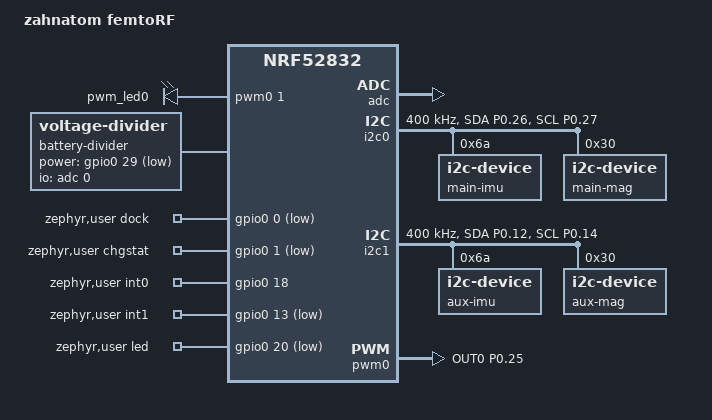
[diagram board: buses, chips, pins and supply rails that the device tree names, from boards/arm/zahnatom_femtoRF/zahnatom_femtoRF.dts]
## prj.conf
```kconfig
CONFIG_NCS_SAMPLES_DEFAULTS=y

CONFIG_ESB=y

CONFIG_SENSOR=y
CONFIG_ADC=y
CONFIG_ADC_NRFX_SAADC=y
CONFIG_FPU=y
CONFIG_I2C=y
CONFIG_PINCTRL=y

CONFIG_NVS=y

CONFIG_POWEROFF=y

CONFIG_FLASH=y
CONFIG_FLASH_PAGE_LAYOUT=y
CONFIG_FLASH_MAP=y

CONFIG_SETTINGS=y
CONFIG_SETTINGS_NVS=y
CONFIG_SETTINGS_RUNTIME=y

CONFIG_MPU_ALLOW_FLASH_WRITE=y

CONFIG_CONSOLE=y
CONFIG_USE_SEGGER_RTT=y
CONFIG_RTT_CONSOLE=y
CONFIG_LOG=y
CONFIG_LOG_MODE_DEFERRED=y
#CONFIG_LOG_MODE_IMMEDIATE=y
CONFIG_LOG_BACKEND_RTT=y
CONFIG_CBPRINTF_FP_SUPPORT=y
CONFIG_ADC_LOG_LEVEL_OFF=y

CONFIG_PWM=y
CONFIG_GPIO=y

#CONFIG_CPLUSPLUS=y
#CONFIG_CPP_MAIN=y

CONFIG_CRC=y

CONFIG_NVS_LOOKUP_CACHE=y

# CONFIG_NEWLIB_LIBC=y
CONFIG_NRFX_TIMER1=y

#speed up boot? (use internal rc oscillator)
#CONFIG_CLOCK_CONTROL_NRF_K32SRC_RC=y
#speed up boot? (synthesize lf clock)
CONFIG_CLOCK_CONTROL_NRF_K32SRC_SYNTH=y
```

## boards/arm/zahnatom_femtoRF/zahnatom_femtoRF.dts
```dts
// Copyright (c) 2023 Nordic Semiconductor ASA
// SPDX-License-Identifier: Apache-2.0

/dts-v1/;
#include <nordic/nrf52832_ciaa.dtsi>

//move to dtsi?
&pinctrl {
	i2c0_default: i2c0_default {
		group1 {
			psels = <NRF_PSEL(TWIM_SDA, 0, 26)>,
				<NRF_PSEL(TWIM_SCL, 0, 27)>;
		};
	};

	i2c0_sleep: i2c0_sleep {
		group1 {
			psels = <NRF_PSEL(TWIM_SDA, 0, 26)>,
				<NRF_PSEL(TWIM_SCL, 0, 27)>;
			low-power-enable;
		};
	};

	i2c1_default: i2c1_default {
		group1 {
			psels = <NRF_PSEL(TWIM_SDA, 0, 12)>,
				<NRF_PSEL(TWIM_SCL, 0, 14)>;
		};
	};

	i2c1_sleep: i2c1_sleep {
		group1 {
			psels = <NRF_PSEL(TWIM_SDA, 0, 12)>,
				<NRF_PSEL(TWIM_SCL, 0, 14)>;
			low-power-enable;
		};
	};

	pwm0_default: pwm0_default {
		group1 {
			psels = <NRF_PSEL(PWM_OUT0, 0, 25)>;
			nordic,invert;
		};
	};

	pwm0_sleep: pwm0_sleep {
		group1 {
			psels = <NRF_PSEL(PWM_OUT0, 0, 25)>;
			low-power-enable;
		};
	};

};
//end

/ {
	model = "zahnatom femtoRF";
	compatible = "zahnatom-femtoRF";

	chosen {
		zephyr,sram = &sram0;
		zephyr,flash = &flash0;
		zephyr,code-partition = &slot0_partition;
	};

	pwmleds {
		compatible = "pwm-leds";
		pwm_led0: pwm_led_0 {
			pwms = <&pwm0 1 PWM_MSEC(20) PWM_POLARITY_INVERTED>;
		};
	};

	battery-divider {
		compatible = "voltage-divider";
		status = "okay";
		io-channels = <&adc 0>;
		output-ohms = <619000>;
		full-ohms = <(820000+619000)>;
		power-gpios = <&gpio0 29 (GPIO_OPEN_DRAIN|GPIO_ACTIVE_LOW)>;
	};

	zephyr,user {
		dock-gpios = <&gpio0 0 (GPIO_PULL_UP|GPIO_ACTIVE_LOW)>;
		chgstat-gpios = <&gpio0 1 (GPIO_PULL_UP|GPIO_ACTIVE_LOW)>;
		int0-gpios = <&gpio0 18 (GPIO_PULL_DOWN|GPIO_ACTIVE_HIGH)>;
		int1-gpios = <&gpio0 13 (GPIO_PULL_UP|GPIO_ACTIVE_LOW)>;
		led-gpios = <&gpio0 20 (GPIO_OPEN_DRAIN|GPIO_ACTIVE_LOW)>;
	};

};

&flash0 {
	partitions {
		compatible = "fixed-partitions";
		#address-cells = <1>;
		#size-cells = <1>;

		boot_partition: partition@0 {
			label = "mcuboot";
			reg = <0x0 0xc000>;
		};
		slot0_partition: partition@c000 {
			label = "image-0";
			reg = <0xc000 0x32000>;
		};
		slot1_partition: partition@3e000 {
			label = "image-1";
			reg = <0x3e000 0x32000>;
		};
		scratch_partition: partition@70000 {
			label = "image-scratch";
			reg = <0x70000 0xa000>;
		};
		storage_partition: partition@7a000 {
			label = "storage";
			reg = <0x7a000 0x6000>;
		};
	};
};

&adc {
	status = "okay";
};

&gpiote {
	status = "okay";
};

&gpio0 {
	status = "okay";
};

&i2c0 {
	compatible = "nordic,nrf-twim";
	status = "okay";
	clock-frequency = <I2C_BITRATE_FAST>;
	pinctrl-0 = <&i2c0_default>;
	pinctrl-1 = <&i2c0_sleep>;
	pinctrl-names = "default", "sleep";

	icm_0: icm42688@6A {
		compatible = "i2c-device";
		label = "main-imu";
		reg = <0x6A>;
	};

	mmc_0: mmc5983ma@30 {
		compatible = "i2c-device";
		label = "main-mag";
		reg = <0x30>;
	};

};

&i2c1 {
	compatible = "nordic,nrf-twim";
	status = "okay";
	clock-frequency = <I2C_BITRATE_FAST>;
	pinctrl-0 = <&i2c1_default>;
	pinctrl-1 = <&i2c1_sleep>;
	pinctrl-names = "default", "sleep";

	icm_1: icm42688@6A {
		compatible = "i2c-device";
		label = "aux-imu";
		reg = <0x6A>;
	};

	mmc_1: mmc5983ma@30 {
		compatible = "i2c-device";
		label = "aux-mag";
		reg = <0x30>;
	};

};

&pwm0 {
	status = "okay";
	pinctrl-0 = <&pwm0_default>;
	pinctrl-1 = <&pwm0_sleep>;
	pinctrl-names = "default", "sleep";
};
```

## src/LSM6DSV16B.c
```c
#include "LSM6DSV16B.h"

#define writeBits(dev, reg, data) i2c_reg_write_byte_dt(dev, reg, data)
#define changeBitsMask(dev, reg, mask, data) i2c_reg_update_byte_dt(dev, reg, mask, data)
#define changeBits(dev, reg, data) changeBitsMask(dev, reg, data, data)

bool setupLSM(const struct i2c_dt_spec *dev)
{
    if (readByte(dev, WHOAMI) != LSMID)
    {
        return false;
    }

    resetLSM(dev);

    changeBits(dev, ACCELRATE, ACCELRATE_DATA),
        changeBits(dev, GYRORATE, GYRORATE_DATA);
    writeBits(dev, ACGYFIFO, ACGYFIFO_DATA);
    changeBits(dev, ACCELSCALE, ACCELSCALE_DATA);

    setEmbed(dev, true);
    writeBits(dev, EMBEDFUNCA, EMBEDFUNCA_DATA);
    writeBits(dev, EMBEDFIFOA, EMBEDFIFOA_DATA);
    writeBits(dev, EMBEDINITA, EMBEDINITA_DATA);
    setEmbed(dev, false);

    changeBits(dev, LSMIFCONF, LSMINTSETUP);

    return true;
}

uint16_t getFIFONum(const struct i2c_dt_spec *dev)
{
    return (((readByte(dev, 0x1C) & 0x01) << 8) | readByte(dev, 0x1B));
}

uint8_t readByte(const struct i2c_dt_spec *dev, uint8_t reg)
{
    uint8_t read;
    i2c_reg_read_byte_dt(dev, reg, &read);
    return read;
}

void readBytes(const struct i2c_dt_spec *dev, uint8_t reg, uint8_t size, uint8_t *data)
{
    for (int i = 0; i < size; i++)
    {
        data[i] = readByte(dev, reg + i);
    }
}

void setEmbed(const struct i2c_dt_spec *dev, bool set)
{
    k_msleep(10);
    if (set)
        writeBits(dev, 0x01, 0b10000000);
    else
        writeBits(dev, 0x01, 0b00000000);
    k_msleep(10);
}

void enableWOM(const struct i2c_dt_spec *dev)
{
    resetLSM(dev);
    changeBits(dev, LSMIFCONF, LSMINTSETUP);
    writeBits(dev, GYRORATE, 0b01000000);
    writeBits(dev, ACCELRATE, 0b01100000);
    writeBits(dev, WAKESRCCONF, WAKESRCCONF_DATA);
    writeBits(dev, WAKEUPTHS, WAKEUPTHS_DATA);
    writeBits(dev, MD1CFG, MD1CFG_DATA);
    changeBitsMask(dev, FUNCTENINT, 0b10000000, FUNCTENINT_DATA);
}

void disableWOM(const struct i2c_dt_spec *dev)
{
    resetLSM(dev);
    setupLSM(dev);
}

void resetLSM(const struct i2c_dt_spec *dev)
{
    writeBits(dev, LSMCONTROL, LSMRESET);
    writeBits(dev, LSMCTRL3, LSMCLEAR);

    k_msleep(5);
}

bool checkLSMID(const struct i2c_dt_spec *dev)
{
    return readByte(dev, WHOAMI) == LSMID;
}

uint32_t previousDataTime, currentDataTime;
// float rawAcceleration[3], linacceleration[3];
// FusionQuaternion fused;
FusionQuaternion rotation = {.element = {0, 0, 1, ROTATION}};

typedef union
{
    int16_t int16[3];
    uint8_t uint8[6];
} convert;

void readFIFO(const struct i2c_dt_spec *dev, float *accel, float *laccel, float *fquat)
{
    uint16_t samples = getFIFONum(dev);
    for (uint16_t i = 0; i < samples; i++)
    {
        uint8_t tag = readByte(dev, FIFOTAG) >> 3;
        printf("%#02x ", tag);
        switch (tag)
        {
        case TAGACCEL:
        {
            int32_t intAcceleration[3];
            convert data_raw;
            float accelfloat[3];
            readBytes(dev, FIFO, 6, data_raw.uint8);
            if (accel == NULL)
                break;
            accelfloat[0] = (float)data_raw.int16[0] * ACCELSENS;
            accelfloat[1] = (float)data_raw.int16[1] * ACCELSENS;
            accelfloat[2] = (float)data_raw.int16[2] * ACCELSENS;
            intAcceleration[0] = (int32_t)accelfloat[0];
            intAcceleration[1] = (int32_t)accelfloat[1];
            intAcceleration[2] = (int32_t)accelfloat[2];
            accel[0] = (intAcceleration[0] / 1000.0f);
            accel[1] = (intAcceleration[1] / 1000.0f);
            accel[2] = (intAcceleration[2] / 1000.0f);

            break;
        }
        case TAGTIME:
        {
            if (i % samples != 0)
            {
                return;
            }
            previousDataTime = currentDataTime;
            uint32_t data[2];
            readBytes(dev, FIFO, 6, (uint8_t *)data);
            currentDataTime = data[0];
            break;
        }
        case TAGGAME:
        {
            float quat[4];
            convert data_raw;
            readBytes(dev, FIFO, 6, data_raw.uint8);
            if (fquat == NULL)
                break;
            sflp2q(quat, (uint16_t *)&data_raw.int16[0]);
            FusionQuaternion temp = {.element = {quat[3], quat[0], quat[1], quat[2]}};
            temp = FusionQuaternionMultiply(temp, rotation);
            fquat[0] = temp.element.x;
            fquat[1] = temp.element.y;
            fquat[2] = temp.element.z;
            fquat[3] = temp.element.w;
            break;
        }
        case TAGGRAVITY:
        {
            float gravityVector[3];
            convert data_raw;
            readBytes(dev, FIFO, 7, data_raw.uint8);
            if (laccel == NULL || accel == NULL)
                break;
            gravityVector[0] = ((float)data_raw.int16[0]) / 1000.0f;
            gravityVector[1] = ((float)data_raw.int16[1]) / 1000.0f;
            gravityVector[2] = ((float)data_raw.int16[2]) / 1000.0f;
            laccel[0] = accel[0] - gravityVector[0] * GRAVITY;
            laccel[1] = accel[1] - gravityVector[1] * GRAVITY;
            laccel[2] = accel[2] - gravityVector[2] * GRAVITY;
            break;
        }
        default:
        {
            char data[6];
            readBytes(dev, FIFO, 6, data);
            break;
        }
        }
    }
    if (samples)
    {
        printf("\n");
    }
}

void npy_halfbits_to_floatbits(uint16_t h, uint32_t *f)
{
    uint16_t h_exp, h_sig;
    uint32_t f_sgn, f_exp, f_sig;

    h_exp = (h & 0x7c00u);
    f_sgn = ((uint32_t)h & 0x8000u) << 16;
    switch (h_exp)
    {
    case 0x0000u: /* 0 or subnormal */
        h_sig = (h & 0x03ffu);
        /* Signed zero */
        if (h_sig == 0)
        {
            *f = f_sgn;
        }
        /* Subnormal */
        h_sig <<= 1;
        while ((h_sig & 0x0400u) == 0)
        {
            h_sig <<= 1;
            h_exp++;
        }
        f_exp = ((uint32_t)(127 - 15 - h_exp)) << 23;
        f_sig = ((uint32_t)(h_sig & 0x03ffu)) << 13;
        *f = f_sgn + f_exp + f_sig;
    case 0x7c00u: /* inf or NaN */
        /* All-ones exponent and a copy of the significand */
        *f = f_sgn + 0x7f800000u + (((uint32_t)(h & 0x03ffu)) << 13);
    default: /* normalized */
        /* Just need to adjust the exponent and shift */
        *f = f_sgn + (((uint32_t)(h & 0x7fffu) + 0x1c000u) << 13);
    }
}

void npy_half_to_float(uint16_t h, float *f)
{
    union
    {
        float ret;
        uint32_t retbits;
    } conv;
    npy_halfbits_to_floatbits(h, &conv.retbits);
    *f = conv.ret;
}

void sflp2q(float quat[4], uint16_t sflp[3])
{
    float sumsq = 0;

    npy_half_to_float(sflp[0], &quat[0]);
    npy_half_to_float(sflp[1], &quat[1]);
    npy_half_to_float(sflp[2], &quat[2]);

    for (uint8_t i = 0; i < 3; i++)
    {
        sumsq += quat[i] * quat[i];
    }

    if (sumsq > 1.0f)
    {
        float n = sqrtf(sumsq);
        quat[0] /= n;
        quat[1] /= n;
        quat[2] /= n;
        sumsq = 1.0f;
    }

    quat[3] = sqrtf(1.0f - sumsq);
}
```

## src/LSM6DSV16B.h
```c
#ifndef LSM6DSV16B
#define LSM6DSV16B

#include <stdio.h>
#include <zephyr/logging/log.h>
#include <zephyr/sys/printk.h>
#include <zephyr/drivers/gpio.h>
#include <zephyr/drivers/i2c.h>
#include <hal/nrf_gpio.h>
#include <zephyr/kernel.h>
#include "Fusion/FusionMath.h"

bool setupLSM(const struct i2c_dt_spec *dev);
uint16_t getFIFONum(const struct i2c_dt_spec *dev);
uint8_t readByte(const struct i2c_dt_spec *dev, uint8_t reg);
void readBytes(const struct i2c_dt_spec *dev, uint8_t reg, uint8_t size, uint8_t *data);
void setEmbed(const struct i2c_dt_spec *dev, bool set);
void enableWOM(const struct i2c_dt_spec *dev);
void disableWOM(const struct i2c_dt_spec *dev);
void resetLSM(const struct i2c_dt_spec *dev);
bool checkLSMID(const struct i2c_dt_spec *dev);
void readFIFO(const struct i2c_dt_spec *dev, float *accel, float *laccel, float *fquat);

void npy_halfbits_to_floatbits(uint16_t h, uint32_t *f);
void npy_half_to_float(uint16_t h, float *f);
void sflp2q(float quat[4], uint16_t sflp[3]);

#define LSMCONTROL 0x01
#define LSMCTRL3 0x12

#define WHOAMI 0x0F
#define LSMID 0x71

#define LSMRESET 0b00000100
#define LSMCLEAR 0b00000001
#define EMBED 0b10000000

#define ACCELRATE 0x10
#define ACCELRATE_DATA 0b00001000

#define GYRORATE 0x11
#define GYRORATE_DATA 0b00001000

#define ACGYFIFO 0x09
#define ACGYFIFO_DATA 0b00000110

#define ACCELSCALE 0x17
#define ACCELSCALE_DATA 0b00000011
#define ACCELSCALE_FILTER 0b01000000
#if ACCELSCALE_DATA == 0b00000000
#define ACCELSENS 0.061f
#elif ACCELSCALE_DATA == 0b00000001
#define ACCELSENS 0.122f
#elif ACCELSCALE_DATA == 0b00000010
#define ACCELSENS 0.244f
#elif ACCELSCALE_DATA == 0b00000011
#define ACCELSENS 0.488f
#endif

#define EMBEDFUNCA 0x04
#define EMBEDFUNCA_DATA 0b00000010

#define EMBEDFIFOA 0x44
#define EMBEDFIFOA_DATA 0b00010010

#define EMBEDINITA 0x66
#define EMBEDINITA_DATA 0b00000010

#define LSMIFCONF 0x03
#define LSMINTSETUP 0b01000100 // this is that way to set the voltage on the bq21080 to 4.18 volts. not the 4.2 volts i'd want but its ok



#define WAKESRCCONF 0x45
#define WAKESRCCONF_DATA 0b00000111

#define WAKEUPTHS 0x5B
#define WAKEUPTHS_DATA 0b00111111

#define MD1CFG 0x5E
#define MD1CFG_DATA 0b00100000

#define FUNCTENINT 0x50
#define FUNCTENINT_DATA 0b10000000

#define CTRL9 0x18
#define XFILTER 0b00001000

#define CTRL7 0x16
#define GFILTER 0b00000001

#define GYROSCALE 0x15
#define GYROSCALE_FILTER 0b00100000

#define OUTZA 0x28
#define OUTYA 0x2A
#define OUTXA 0x2C

#define FIFOTAG 0x78
#define FIFO 0x79

#define TAGACCEL 0x02
#define TAGTIME 0x04
#define TAGGAME 0x13
#define TAGGRAVITY 0x17

#define GRAVITY 9.80665f

#define ROTATION 0

#endif
```

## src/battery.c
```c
/*
 * Copyright (c) 2018-2019 Peter Bigot Consulting, LLC
 * Copyright (c) 2019-2020 Nordic Semiconductor ASA
 *
 * SPDX-License-Identifier: Apache-2.0
 */

#include <math.h>
#include <stdio.h>
#include <stdlib.h>

#include <zephyr/kernel.h>
#include <zephyr/init.h>
#include <zephyr/drivers/gpio.h>
#include <zephyr/drivers/adc.h>
#include <zephyr/drivers/sensor.h>
#include <zephyr/logging/log.h>

#include "battery.h"

LOG_MODULE_REGISTER(BATTERY, CONFIG_ADC_LOG_LEVEL);

#define VBATT DT_PATH(battery_divider)
#define ZEPHYR_USER DT_PATH(zephyr_user)

#ifdef CONFIG_BOARD_THINGY52_NRF52832
/* This board uses a divider that reduces max voltage to
 * reference voltage (600 mV).
 */
#define BATTERY_ADC_GAIN ADC_GAIN_1
#else
/* Other boards may use dividers that only reduce battery voltage to
 * the maximum supported by the hardware (3.6 V)
 */
// #define BATTERY_ADC_GAIN ADC_GAIN_1_6
#define BATTERY_ADC_GAIN 1
#endif

struct io_channel_config {
	uint8_t channel;
};

struct divider_config {
	struct io_channel_config io_channel;
	struct gpio_dt_spec power_gpios;
	/* output_ohm is used as a flag value: if it is nonzero then
	 * the battery is measured through a voltage divider;
	 * otherwise it is assumed to be directly connected to Vdd.
	 */
	uint32_t output_ohm;
	uint32_t full_ohm;
};

static const struct divider_config divider_config = {
#if DT_NODE_HAS_STATUS(VBATT, okay)
	.io_channel = {
		DT_IO_CHANNELS_INPUT(VBATT),
	},
	.power_gpios = GPIO_DT_SPEC_GET_OR(VBATT, power_gpios, {}),
	.output_ohm = DT_PROP(VBATT, output_ohms),
	.full_ohm = DT_PROP(VBATT, full_ohms),
#else /* /vbatt exists */
	.io_channel = {
		DT_IO_CHANNELS_INPUT(ZEPHYR_USER),
	},
#endif /* /vbatt exists */
};

struct divider_data {
	const struct device *adc;
	struct adc_channel_cfg adc_cfg;
	struct adc_sequence adc_seq;
	int16_t raw;
};
static struct divider_data divider_data = {
#if DT_NODE_HAS_STATUS(VBATT, okay)
	.adc = DEVICE_DT_GET(DT_IO_CHANNELS_CTLR(VBATT)),
#else
	.adc = DEVICE_DT_GET(DT_IO_CHANNELS_CTLR(ZEPHYR_USER)),
#endif
};

static int divider_setup(void)
{
	const struct divider_config *cfg = &divider_config;
	const struct io_channel_config *iocp = &cfg->io_channel;
	const struct gpio_dt_spec *gcp = &cfg->power_gpios;
	struct divider_data *ddp = &divider_data;
	struct adc_sequence *asp = &ddp->adc_seq;
	struct adc_channel_cfg *accp = &ddp->adc_cfg;
	int rc;

	if (!device_is_ready(ddp->adc)) {
		LOG_ERR("ADC device is not ready %s", ddp->adc->name);
		return -ENOENT;
	}

	if (gcp->port) {
		if (!device_is_ready(gcp->port)) {
			LOG_ERR("%s: device not ready", gcp->port->name);
			return -ENOENT;
		}
		rc = gpio_pin_configure_dt(gcp, GPIO_OUTPUT_INACTIVE);
		if (rc != 0) {
			LOG_ERR("Failed to control feed %s.%u: %d",
				gcp->port->name, gcp->pin, rc);
			return rc;
		}
	}

	*asp = (struct adc_sequence){
		.channels = BIT(0),
		.buffer = &ddp->raw,
		.buffer_size = sizeof(ddp->raw),
		.oversampling = 4,
		.calibrate = true,
	};

#ifdef CONFIG_ADC_NRFX_SAADC
	*accp = (struct adc_channel_cfg){
		.gain = BATTERY_ADC_GAIN,
		.reference = ADC_REF_INTERNAL,
		.acquisition_time = ADC_ACQ_TIME(ADC_ACQ_TIME_MICROSECONDS, 40),
	};

	if (cfg->output_ohm != 0) {
		accp->input_positive = SAADC_CH_PSELP_PSELP_AnalogInput0
			+ iocp->channel;
	} else {
		accp->input_positive = SAADC_CH_PSELP_PSELP_VDD;
	}

	asp->resolution = 14;
#else /* CONFIG_ADC_var */
#error Unsupported ADC
#endif /* CONFIG_ADC_var */

	rc = adc_channel_setup(ddp->adc, accp);
	printf("Setup AIN%u got %d\n", iocp->channel, rc);

	return rc;
}

static bool battery_ok;

static int battery_setup(const struct device *arg)
{
	printf("bruh\n");
	int rc = divider_setup();

	battery_ok = (rc == 0);
	printf("Battery setup: %d %d\n", rc, battery_ok);
	return rc;
}

SYS_INIT(battery_setup, APPLICATION, CONFIG_APPLICATION_INIT_PRIORITY);

int battery_measure_enable(bool enable)
{
	int rc = -ENOENT;

	if (battery_ok) {
		const struct gpio_dt_spec *gcp = &divider_config.power_gpios;

		rc = 0;
		if (gcp->port) {
			rc = gpio_pin_set_dt(gcp, enable);
		}
	}
	return rc;
}

int battery_sample(void)
{
	int rc = -ENOENT;

	if (battery_ok) {
		struct divider_data *ddp = &divider_data;
		const struct divider_config *dcp = &divider_config;
		struct adc_sequence *sp = &ddp->adc_seq;

		rc = adc_read(ddp->adc, sp);
		sp->calibrate = false;
		if (rc == 0) {
			int32_t val = ddp->raw;

			adc_raw_to_millivolts(adc_ref_internal(ddp->adc),
					      ddp->adc_cfg.gain,
					      sp->resolution,
					      &val);

			if (dcp->output_ohm != 0) {
				rc = val * (uint64_t)dcp->full_ohm
					/ dcp->output_ohm;
				LOG_INF("raw %u ~ %u mV => %d mV\n",
					ddp->raw, val, rc);
			} else {
				rc = val;
				LOG_INF("raw %u ~ %u mV\n", ddp->raw, val);
			}
		}
	}

	return rc;
}

unsigned int battery_level_pptt(unsigned int batt_mV,
				const struct battery_level_point *curve)
{
	const struct battery_level_point *pb = curve;

	if (batt_mV >= pb->lvl_mV) {
		/* Measured voltage above highest point, cap at maximum. */
		return pb->lvl_pptt;
	}
	/* Go down to the last point at or below the measured voltage. */
	while ((pb->lvl_pptt > 0)
	       && (batt_mV < pb->lvl_mV)) {
		++pb;
	}
	if (batt_mV < pb->lvl_mV) {
		/* Below lowest point, cap at minimum */
		return pb->lvl_pptt;
	}

	/* Linear interpolation between below and above points. */
	const struct battery_level_point *pa = pb - 1;

	return pb->lvl_pptt
	       + ((pa->lvl_pptt - pb->lvl_pptt)
		  * (batt_mV - pb->lvl_mV)
		  / (pa->lvl_mV - pb->lvl_mV));
}

static const struct battery_level_point levels[] = {
	{ 10000, 4150 },
	{ 9500, 4075 },
	{ 3000, 3775 },
	{ 500, 3450 },
	{ 0, 3200 },
};

unsigned int read_batt()
{
	int rc = battery_measure_enable(true);

	if (rc != 0) {
		printk("Failed initialize battery measurement: %d\n", rc);
		return -1;
	}

	int batt_mV = battery_sample();

	if (batt_mV < 0) {
		printk("Failed to read battery voltage: %d\n",
		       batt_mV);
	}

	battery_measure_enable(false);

	return battery_level_pptt(batt_mV, levels);
}

unsigned int read_batt_mV(int *out)
{
	int rc = battery_measure_enable(true);

	if (rc != 0) {
		printk("Failed initialize battery measurement: %d\n", rc);
		return -1;
	}

	int batt_mV = battery_sample();
	if (batt_mV < 0) {
		printk("Failed to read battery voltage: %d\n",
		       batt_mV);
	}

	battery_measure_enable(false);

	*out = batt_mV;
	return battery_level_pptt(batt_mV, levels);
}
```
